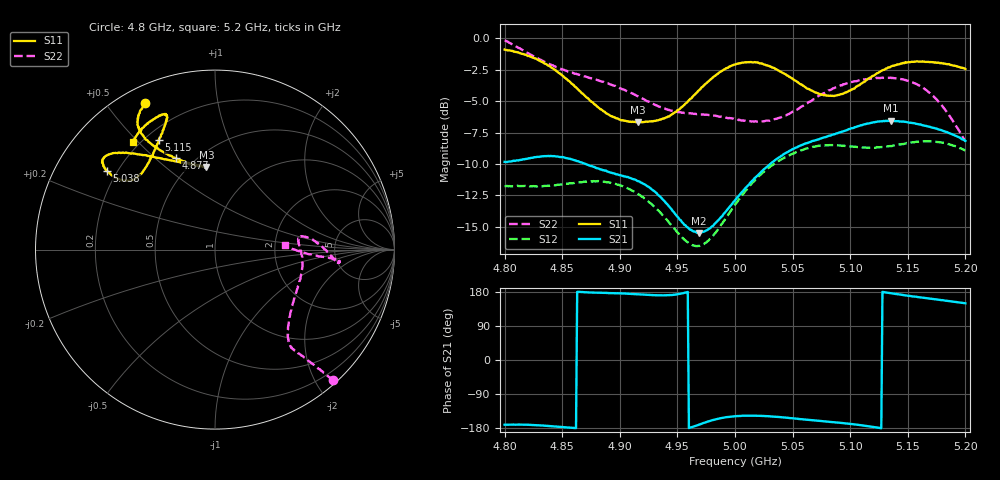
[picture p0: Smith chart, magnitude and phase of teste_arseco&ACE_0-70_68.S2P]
! Network Analyzer HP8722D
! Hewlett-Packard
! Data name: Linha & Wilkinson
! Saver's name: Rodrigo Anjos
! Comments: Teste da utilização de aquisição
! continua pelo VNA HP8722D
! Time and date: 8/5/2025 13:19
!  Frequency  S11  S21  S12  S22
# HZ  S  MA R 50
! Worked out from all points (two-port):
!   401 points, 4.8 GHz to 5.2 GHz, reference 50 ohm
!   highest |S21| = -6.55 dB at 5.135 GHz (marker M1); lowest = -15.5 dB at 4.969 GHz (marker M2)
!   |S21| within 3 dB of the highest: 4.822 GHz to 4.854 GHz (31.96 MHz wide, 0.661 % of centre); 5.037 GHz to end of sweep (the widest 2 of 3)
!   lowest |S11| = -6.7 dB at 4.916 GHz (marker M3), VSWR 2.73, Z = 30 + j35.1 ohm
!   |S11| at or under -10 dB: nowhere
!   |S22| runs from -8.2 to -0.2 dB; largest |S21 - S12| = 0.83
!   S11 on the Smith chart (normalised r, x): 4.8 GHz: 0.07, +0.63; 4.877 GHz: 0.40, +0.59; 5.038 GHz: 0.16, +0.32; 5.115 GHz: 0.25, +0.58; 5.2 GHz: 0.17, +0.48
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4.8e9  0.9018 115.5  0.3223 -170.8  0.258 -86.3  0.9799 -47.8
4.832e9  0.8056 122.1  0.3389 -172.7  0.2578 -77.8  0.8175 -49.8
4.849e9  0.7177 121.8  0.3369 -176.9  0.2616 -72.2  0.7549 -50.8
4.867e9  0.6049 117.4  0.3203 179.2  0.2675 -67.7  0.7105 -51.8
4.877e9  0.5524 113.0  0.308 178.0  0.2702 -66.7  0.6885 -52.0
4.9e9  0.4747 100.8  0.2851 175.9  0.2601 -67.2  0.6328 -50.2
4.916e9  0.4631 96.0  0.2699 173.4  0.2399 -69.0  0.5871 -45.7
4.934e9  0.4734 99.5  0.2364 170.6  0.2054 -69.9  0.5346 -36.9
4.956e9  0.5433 114.8  0.181 177.2  0.1583 -60.8  0.5042 -22.4
4.969e9  0.6221 123.9  0.1679 -170.2  0.1491 -46.6  0.498 -14.7
4.981e9  0.6998 130.1  0.1792 -158.3  0.1638 -33.2  0.4918 -8.5
5e9  0.786 137.2  0.2263 -148.5  0.2179 -21.7  0.4761 -0.1
5.019e9  0.8017 141.5  0.283 -147.2  0.2769 -18.9  0.4662 5.9
5.038e9  0.7434 144.0  0.3353 -150.4  0.3255 -19.1  0.4818 8.8
5.067e9  0.6183 141.7  0.3901 -158.9  0.3694 -21.4  0.5666 4.0
5.088e9  0.5919 132.6  0.4184 -164.8  0.375 -24.6  0.6384 -2.4
5.115e9  0.687 117.2  0.458 -174.5  0.3668 -27.4  0.688 -6.1
5.134e9  0.7647 110.7  0.4686 176.9  0.3716 -29.5  0.6957 -5.5
5.135e9  0.77 110.7  0.4705 176.4  0.3726 -29.5  0.6967 -5.2
5.162e9  0.8066 112.6  0.4518 164.8  0.389 -36.3  0.6418 -4.3
5.18e9  0.7942 118.9  0.4293 158.1  0.3844 -41.9  0.5375 -2.9
5.2e9  0.7539 127.4  0.3904 149.7  0.3579 -47.3  0.3879 3.5
